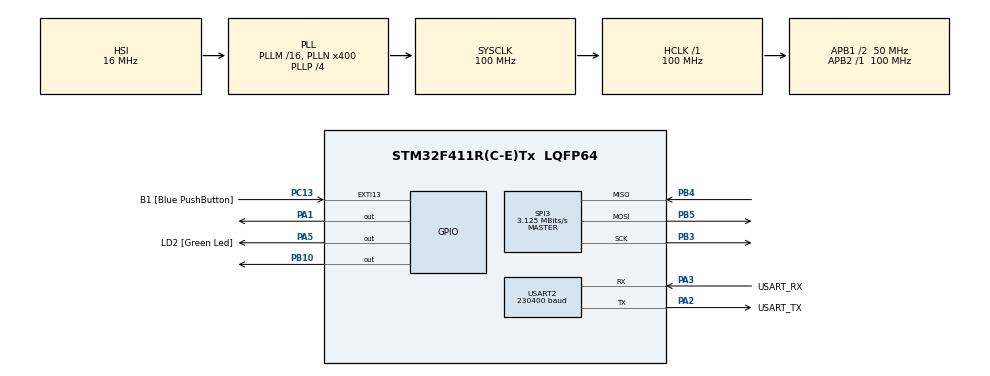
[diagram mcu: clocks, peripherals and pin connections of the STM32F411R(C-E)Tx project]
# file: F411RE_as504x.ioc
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Mcu.Family=STM32F4
Mcu.Name=STM32F411R(C-E)Tx
Mcu.Package=LQFP64
NVIC.PriorityGroup=NVIC_PRIORITYGROUP_0
NVIC.USART2_IRQn=true\:0\:0\:false\:false\:true\:true
PA1.Signal=GPIO_Output
PA13.GPIO_Label=TMS
PA13.Mode=Serial_Wire
PA13.Signal=SYS_JTMS-SWDIO
PA14.GPIO_Label=TCK
PA14.Mode=Serial_Wire
PA14.Signal=SYS_JTCK-SWCLK
PA2.GPIO_Label=USART_TX
PA2.Mode=Asynchronous
PA2.Signal=USART2_TX
PA3.GPIO_Label=USART_RX
PA3.Mode=Asynchronous
PA3.Signal=USART2_RX
PA5.GPIO_Label=LD2 [Green Led]
PA5.Signal=GPIO_Output
PB10.Signal=GPIO_Output
PB3.Mode=Full_Duplex_Master
PB3.Signal=SPI3_SCK
PB4.Mode=Full_Duplex_Master
PB4.Signal=SPI3_MISO
PB5.Mode=Full_Duplex_Master
PB5.Signal=SPI3_MOSI
PC13-ANTI_TAMP.GPIO_Label=B1 [Blue PushButton]
PC13-ANTI_TAMP.GPIO_ModeDefaultEXTI=GPIO_MODE_IT_FALLING
PC13-ANTI_TAMP.Signal=GPXTI13
PC14-OSC32_IN.Signal=RCC_OSC32_IN
PC15-OSC32_OUT.Signal=RCC_OSC32_OUT
PH0\ -\ OSC_IN.Signal=RCC_OSC_IN
PH1\ -\ OSC_OUT.Signal=RCC_OSC_OUT
ProjectManager.HeapSize=0x200
ProjectManager.StackSize=0x400
ProjectManager.TargetToolchain=SW4STM32
RCC.48MHZClocksFreq_Value=100000000
RCC.AHBFreq_Value=100000000
RCC.APB1CLKDivider=RCC_HCLK_DIV2
RCC.APB1Freq_Value=50000000
RCC.APB1TimFreq_Value=100000000
RCC.APB2Freq_Value=100000000
RCC.APB2TimFreq_Value=100000000
RCC.CortexFreq_Value=100000000
RCC.FLatency-AdvancedSettings=FLASH_LATENCY_3
RCC.HCLKFreq_Value=100000000
RCC.HSE_VALUE=8000000
RCC.HSI_VALUE=16000000
RCC.LSE_VALUE=32768
RCC.PLLN=400
RCC.PLLP=RCC_PLLP_DIV4
RCC.SYSCLKFreq_VALUE=100000000
RCC.SYSCLKSource=RCC_SYSCLKSOURCE_PLLCLK
RCC.VCOOutputFreq_Value=400000000
SPI3.BaudRatePrescaler=SPI_BAUDRATEPRESCALER_16
SPI3.CLKPhase=SPI_PHASE_2EDGE
SPI3.CalculateBaudRate=3.125 MBits/s
SPI3.DataSize=SPI_DATASIZE_16BIT
SPI3.Direction=SPI_DIRECTION_2LINES
SPI3.Mode=SPI_MODE_MASTER
SPI3.VirtualType=VM_MASTER
USART2.BaudRate=230400
USART2.VirtualMode=VM_ASYNC
board=NUCLEO-F411RE

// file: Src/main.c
/**
  ******************************************************************************
  * File Name          : main.c
  * Description        : Main program body
  ******************************************************************************
  ** This notice applies to any and all portions of this file
  * that are not between comment pairs USER CODE BEGIN and
  * USER CODE END. Other portions of this file, whether
  * inserted by the user or by software development tools
  * are owned by their respective copyright owners.
  *
  * COPYRIGHT(c) 2017 STMicroelectronics
  *
  * Redistribution and use in source and binary forms, with or without modification,
  * are permitted provided that the following conditions are met:
  *   1. Redistributions of source code must retain the above copyright notice,
  *      this list of conditions and the following disclaimer.
  *   2. Redistributions in binary form must reproduce the above copyright notice,
  *      this list of conditions and the following disclaimer in the documentation
  *      and/or other materials provided with the distribution.
  *   3. Neither the name of STMicroelectronics nor the names of its contributors
  *      may be used to endorse or promote products derived from this software
  *      without specific prior written permission.
  *
  * THIS SOFTWARE IS PROVIDED BY THE COPYRIGHT HOLDERS AND CONTRIBUTORS "AS IS"
  * AND ANY EXPRESS OR IMPLIED WARRANTIES, INCLUDING, BUT NOT LIMITED TO, THE
  * IMPLIED WARRANTIES OF MERCHANTABILITY AND FITNESS FOR A PARTICULAR PURPOSE ARE
  * DISCLAIMED. IN NO EVENT SHALL THE COPYRIGHT HOLDER OR CONTRIBUTORS BE LIABLE
  * FOR ANY DIRECT, INDIRECT, INCIDENTAL, SPECIAL, EXEMPLARY, OR CONSEQUENTIAL
  * DAMAGES (INCLUDING, BUT NOT LIMITED TO, PROCUREMENT OF SUBSTITUTE GOODS OR
  * SERVICES; LOSS OF USE, DATA, OR PROFITS; OR BUSINESS INTERRUPTION) HOWEVER
  * CAUSED AND ON ANY THEORY OF LIABILITY, WHETHER IN CONTRACT, STRICT LIABILITY,
  * OR TORT (INCLUDING NEGLIGENCE OR OTHERWISE) ARISING IN ANY WAY OUT OF THE USE
  * OF THIS SOFTWARE, EVEN IF ADVISED OF THE POSSIBILITY OF SUCH DAMAGE.
  *
  ******************************************************************************
  */

#include "main.h"
#include "stm32f4xx_hal.h"
#include "spi.h"
#include "usart.h"
#include "gpio.h"

/* USER CODE BEGIN Includes */
#include "AS5047D.h"
/* USER CODE END Includes */

/* USER CODE BEGIN PV */
/* Private variables ---------------------------------------------------------*/

/* USER CODE END PV */

void SystemClock_Config(void);

/* USER CODE BEGIN PFP */
/* Private function prototypes -----------------------------------------------*/

/* USER CODE END PFP */

/* USER CODE BEGIN 0 */

uint16_t ERRFL = 0;
uint16_t PROG = 0;
uint16_t DIAAGC = 0;
uint16_t ANGLEUNC = 0;

uint16_t NOP = 0;
uint16_t CORDICMAG = 0;
uint16_t ANGLECOM = 0;
uint16_t ZPOSM = 0;
uint16_t ZPOSL = 0;
uint16_t SETTINGS1 = 0;
uint16_t SETTINGS2 = 0;

float true_angle = 0.0f;
/* USER CODE END 0 */

int main(void)
{

  /* MCU Configuration----------------------------------------------------------*/

  /* Reset of all peripherals, Initializes the Flash interface and the Systick. */
  HAL_Init();

  /* Configure the system clock */
  SystemClock_Config();

  /* Initialize all configured peripherals */
  MX_GPIO_Init();
  MX_USART2_UART_Init();
  MX_SPI3_Init();

  /* USER CODE BEGIN 2 */
  printf("hello!\r\n");
  AS5047D_Init();
  AS5047D_SetZero();
  //HAL_UART_Transmit(&huart2, str, 8, 100);
  /* USER CODE END 2 */

  /* Infinite loop */
  while (1)
  {

  /* USER CODE BEGIN 3 */
	  HAL_Delay(10);
	  printf("%6d\r\n",AS5047D_Get_ANGLEUNC_Value());

  }
  /* USER CODE END 3 */

}

/** System Clock Configuration
*/
void SystemClock_Config(void)
{

  RCC_OscInitTypeDef RCC_OscInitStruct;
  RCC_ClkInitTypeDef RCC_ClkInitStruct;

    /**Configure the main internal regulator output voltage
    */
  __HAL_RCC_PWR_CLK_ENABLE();

  __HAL_PWR_VOLTAGESCALING_CONFIG(PWR_REGULATOR_VOLTAGE_SCALE1);

    /**Initializes the CPU, AHB and APB busses clocks
    */
  RCC_OscInitStruct.OscillatorType = RCC_OSCILLATORTYPE_HSI;
  RCC_OscInitStruct.HSIState = RCC_HSI_ON;
  RCC_OscInitStruct.HSICalibrationValue = 16;
  RCC_OscInitStruct.PLL.PLLState = RCC_PLL_ON;
  RCC_OscInitStruct.PLL.PLLSource = RCC_PLLSOURCE_HSI;
  RCC_OscInitStruct.PLL.PLLM = 16;
  RCC_OscInitStruct.PLL.PLLN = 400;
  RCC_OscInitStruct.PLL.PLLP = RCC_PLLP_DIV4;
  RCC_OscInitStruct.PLL.PLLQ = 4;
  if (HAL_RCC_OscConfig(&RCC_OscInitStruct) != HAL_OK)
  {
    _Error_Handler(__FILE__, __LINE__);
  }

    /**Initializes the CPU, AHB and APB busses clocks
    */
  RCC_ClkInitStruct.ClockType = RCC_CLOCKTYPE_HCLK|RCC_CLOCKTYPE_SYSCLK
                              |RCC_CLOCKTYPE_PCLK1|RCC_CLOCKTYPE_PCLK2;
  RCC_ClkInitStruct.SYSCLKSource = RCC_SYSCLKSOURCE_PLLCLK;
  RCC_ClkInitStruct.AHBCLKDivider = RCC_SYSCLK_DIV1;
  RCC_ClkInitStruct.APB1CLKDivider = RCC_HCLK_DIV2;
  RCC_ClkInitStruct.APB2CLKDivider = RCC_HCLK_DIV1;

  if (HAL_RCC_ClockConfig(&RCC_ClkInitStruct, FLASH_LATENCY_3) != HAL_OK)
  {
    _Error_Handler(__FILE__, __LINE__);
  }

    /**Configure the Systick interrupt time
    */
  HAL_SYSTICK_Config(HAL_RCC_GetHCLKFreq()/1000);

    /**Configure the Systick
    */
  HAL_SYSTICK_CLKSourceConfig(SYSTICK_CLKSOURCE_HCLK);

  /* SysTick_IRQn interrupt configuration */
  HAL_NVIC_SetPriority(SysTick_IRQn, 0, 0);
}

void _Error_Handler(char * file, int line)
{
  while(1)
  {
  }
}

/************************ (C) COPYRIGHT STMicroelectronics *****END OF FILE****/
